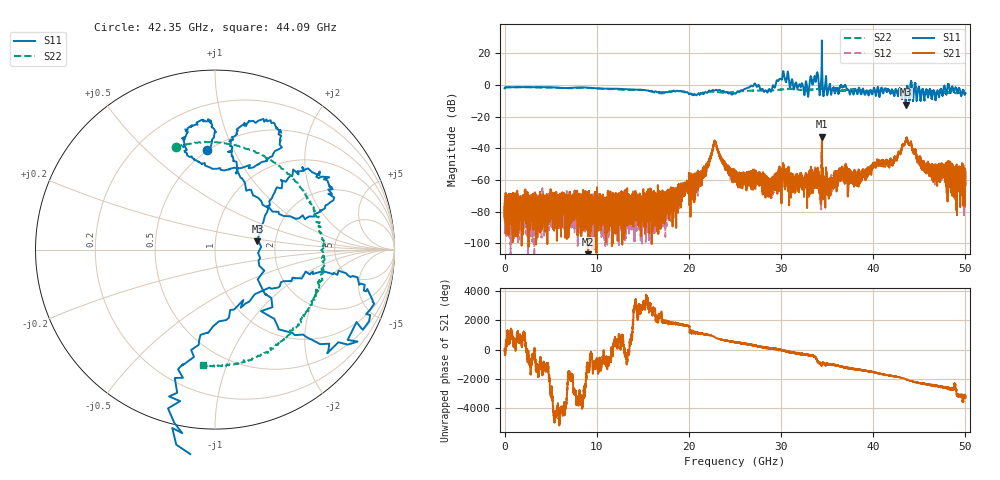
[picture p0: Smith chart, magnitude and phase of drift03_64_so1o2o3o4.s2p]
!Created with skrf (http://scikit-rf.org).
# Hz S RI R 50.0
!freq ReS11 ImS11 ReS21 ImS21 ReS12 ImS12 ReS22 ImS22
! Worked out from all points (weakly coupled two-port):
!   10000 points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, 5.3 MHz to 50 GHz, reference 50 ohm
!   highest |S21| = -32.57 dB at 34.43 GHz (marker M1); lowest = -107.7 dB at 9.075 GHz (marker M2)
!   lowest |S11| = -12.4 dB at 43.51 GHz (marker M3), VSWR 1.63, Z = 80.5 + j7.85 ohm
!   |S11| at or under -10 dB: 43.48355 GHz to 43.55636 GHz (72.81 MHz wide, 0.167 % of centre); 44.32431 GHz to 44.32582 GHz (1.509 MHz wide, 0.0034 % of centre); 45.14965 GHz to 45.15018 GHz (525.1 kHz wide, 0.00116 % of centre)
!   |S22| runs from -5.9 to -1.3 dB; largest |S21 - S12| = 0.016
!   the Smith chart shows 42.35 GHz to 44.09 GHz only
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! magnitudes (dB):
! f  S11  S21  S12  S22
! 5.3 MHz  -2.1  -83.8  -77.7  -2.1
! 8.34 GHz  -1.5  -89.6  -78.3  -1.9
! 9.075 GHz  -1.6  -107.7  -74.8  -1.9
! 16.67 GHz  -4.4  -72.1  -80.0  -5.2
! 18.32 GHz  -3.5  -73.6  -70.9  -3.8
! 20.93 GHz  -5.8  -64.0  -61.5  -5.6
! 21.95 GHz  -4.9  -52.0  -50.6  -4.3
! 22.82 GHz  -3.4  -35.4  -35.4  -4.5
! 25.01 GHz  -5.5  -58.4  -55.6  -4.3
! 27.02 GHz  -0.3  -62.6  -58.2  -3.5
! 28.72 GHz  -2.5  -59.5  -59.7  -3.6
! 30.14 GHz  4.4  -58.8  -65.1  -2.7
! 32.74 GHz  2.1  -60.8  -60.7  -3.3
! 33.34 GHz  2.6  -58.3  -57.8  -2.9
! 34.43 GHz  28.2  -32.6  -37.2  -2.3
! 35.26 GHz  -0.3  -63.8  -62.4  -2.7
! 36.82 GHz  -0.9  -55.7  -54.1  -3.3
! 38.53 GHz  -2.6  -59.0  -57.5  -3.0
! 41.67 GHz  -2.9  -50.3  -50.2  -3.8
! 43.51 GHz  -12.4  -35.1  -35.7  -4.1
! 46.29 GHz  -6.1  -51.2  -50.9  -5.6
! 50 GHz  -5.2  -62.1  -58.0  -5.0
